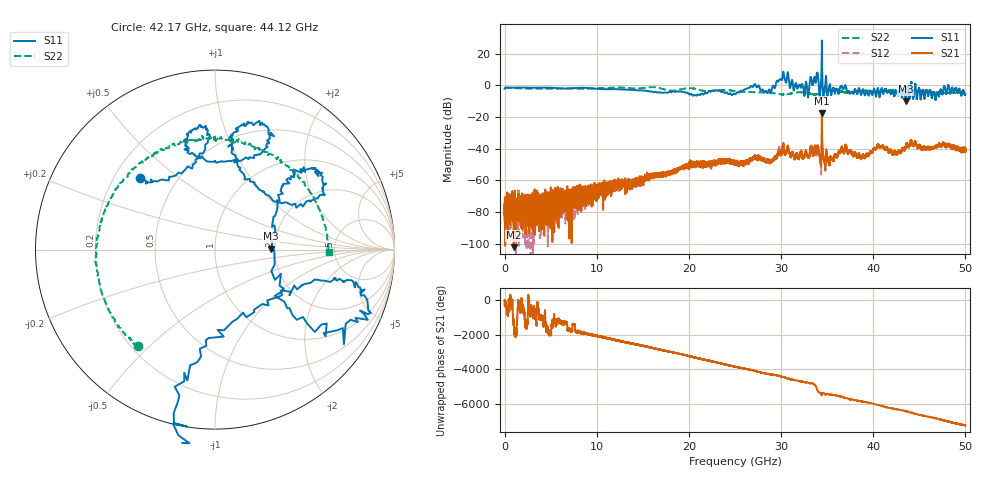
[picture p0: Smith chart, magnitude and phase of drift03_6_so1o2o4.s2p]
!Created with skrf (http://scikit-rf.org).
# Hz S RI R 50.0
!freq ReS11 ImS11 ReS21 ImS21 ReS12 ImS12 ReS22 ImS22
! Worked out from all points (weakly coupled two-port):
!   10000 points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, 5.3 MHz to 50 GHz, reference 50 ohm
!   highest |S21| = -17.50 dB at 34.43 GHz (marker M1); lowest = -102.4 dB at 995.3 MHz (marker M2)
!   lowest |S11| = -10.1 dB at 43.53 GHz (marker M3), VSWR 1.91, Z = 95.4 + j1 ohm
!   |S11| at or under -10 dB: 43.51952 GHz to 43.52071 GHz (1.192 MHz wide, 0.00274 % of centre); 43.52797 GHz to 43.53131 GHz (3.342 MHz wide, 0.00768 % of centre)
!   |S22| runs from -5.8 to -1.1 dB; largest |S21 - S12| = 0.041
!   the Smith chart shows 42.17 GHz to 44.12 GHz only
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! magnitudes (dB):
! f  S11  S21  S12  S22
! 5.3 MHz  -2.1  -85.4  -77.3  -1.3
! 995.3 MHz  -1.4  -102.4  -83.0  -1.6
! 4.97 GHz  -1.4  -71.2  -77.8  -2.1
! 8.34 GHz  -1.5  -72.0  -64.8  -2.1
! 16.67 GHz  -4.4  -55.7  -55.9  -1.5
! 20.29 GHz  -5.6  -50.9  -49.4  -1.8
! 25.01 GHz  -5.5  -48.6  -49.4  -3.6
! 27.02 GHz  -0.4  -45.6  -46.0  -4.2
! 28.72 GHz  -2.5  -47.7  -47.2  -4.6
! 30.14 GHz  4.4  -40.7  -40.9  -5.7
! 32.74 GHz  2.0  -42.0  -42.4  -4.6
! 33.34 GHz  2.5  -39.8  -40.3  -5.5
! 33.82 GHz  3.9  -41.9  -42.0  -5.7
! 34.43 GHz  28.4  -17.5  -19.0  -4.6
! 35.29 GHz  0.6  -48.5  -47.5  -3.3
! 36.85 GHz  -1.2  -41.6  -41.8  -4.3
! 38.85 GHz  -2.7  -44.0  -44.1  -3.2
! 40.59 GHz  -3.9  -37.9  -38.3  -4.1
! 41.67 GHz  -3.5  -42.0  -42.4  -3.4
! 42.71 GHz  -6.2  -42.0  -41.7  -3.6
! 43.53 GHz  -10.1  -39.0  -38.6  -4.3
! 50 GHz  -5.3  -40.4  -40.8  -4.5
